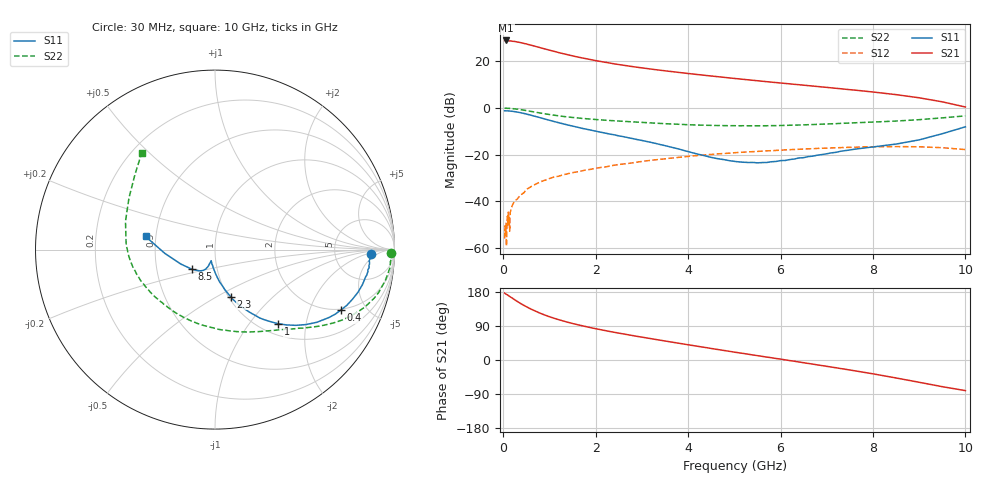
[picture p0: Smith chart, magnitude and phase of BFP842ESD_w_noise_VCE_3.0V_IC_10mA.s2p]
! (c) 2012  Infineon Technologies AG, Munich
! Infineon Technologies  Discrete & RF Semiconductors
! BFP842ESD
! VCE =  3.0 V,  IC =  10 mA
! Common Emitter S-Parameters:  May 2012
# GHz  S  MA  R  50
!  f  S11  S21  S12  S22
! GHz  MAG  ANG  MAG  ANG  MAG  ANG  MAG  ANG
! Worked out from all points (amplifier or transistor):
!   99 points, 30 MHz to 10 GHz, reference 50 ohm
!   highest |S21| = 28.9 dB at 60 MHz (marker M1)
!   |S21| within 3 dB of that: start of sweep to 783.3 MHz
!   unconditionally stable (mu >= 1): 2.974 GHz to end of sweep
!   at 350 MHz: K = 0.31, MSG = 32.9 dB, |S12| = -37.8 dB
!   at 3.5 GHz: K = 1.04, MAG = 17.6 dB, |S12| = -21.8 dB
!   at 10 GHz: K = 1.77, MAG = 4.0 dB, |S12| = -17.8 dB
!   lowest NFmin = 0.59 dB at 450 MHz
!   S11 on the Smith chart (normalised r, x): 30 MHz: 14, -3; 400 MHz: 1.96, -3.34; 1 GHz: 1.20, -1.40; 2.3 GHz: 1.02, -0.58; 8.5 GHz: 0.76, -0.17; 10 GHz: 0.44, +0.08
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0.03  0.8681 -1.7  27.65 176.7  0.0016 80.7  0.9807 -1.0
0.05  0.8661 -3.4  27.33 174.7  0.002 -65.8  0.9819 -2.7
0.06  0.8601 -4.3  27.73 173.9  0.0035 7.1  0.9833 -3.2
0.07  0.8632 -4.5  27.4 173.3  0.0011 43.1  0.9826 -3.1
0.09  0.8623 -5.9  27.04 172.0  0.0048 22.9  0.979 -4.0
0.11  0.8591 -7.5  27.44 170.0  0.0059 65.1  0.98 -5.1
0.14  0.8572 -9.6  27.08 167.8  0.0023 53.5  0.9751 -7.1
0.15  0.8534 -10.1  27.1 166.8  0.0058 85.9  0.9747 -7.4
0.25  0.8314 -16.6  26.36 158.8  0.0103 69.7  0.9527 -12.5
0.4  0.779 -25.5  24.59 147.4  0.0142 74.1  0.9098 -19.0
0.5  0.7392 -30.8  23.35 140.7  0.018 71.4  0.8756 -22.8
0.7  0.6567 -39.5  20.69 128.8  0.0233 66.5  0.8085 -29.1
0.8  0.6165 -43.2  19.43 123.4  0.0261 63.0  0.777 -31.7
1  0.5433 -49.5  17.2 114.2  0.0307 60.5  0.7216 -36.2
1.3  0.4554 -56.8  14.44 102.9  0.037 57.1  0.6566 -41.8
1.7  0.3667 -63.7  11.76 90.6  0.0448 52.6  0.5965 -47.9
2.3  0.276 -71.6  9.126 75.4  0.0569 47.4  0.5379 -57.4
3.4  0.1641 -84.0  6.392 52.2  0.0795 36.7  0.4651 -77.7
5.1  0.0699 -107.2  4.173 19.0  0.1113 14.9  0.4147 -117.5
6.7  0.0929 -111.3  2.932 -10.9  0.134 -7.1  0.4403 -153.1
8.5  0.1683 -139.1  1.922 -47.4  0.1487 -37.6  0.5232 162.4
10  0.3936 169.3  1.045 -80.8  0.1283 -69.7  0.6746 127.3
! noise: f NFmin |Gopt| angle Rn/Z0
0.45  0.59  0.14  2  0.09
0.9  0.59  0.14  5  0.09
1.5  0.61  0.15  13  0.09
1.9  0.62  0.14  21  0.08
2.4  0.63  0.12  27  0.08
3.5  0.71  0.05  116  0.08
4  0.74  0.06  139  0.08
5  0.8  0.07  -173  0.08
5.5  0.92  0.08  -153  0.09
6  1.03  0.1  -143  0.09
